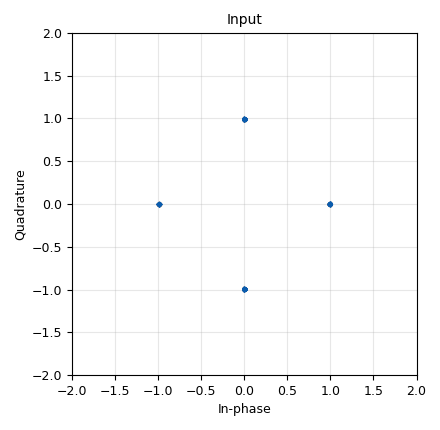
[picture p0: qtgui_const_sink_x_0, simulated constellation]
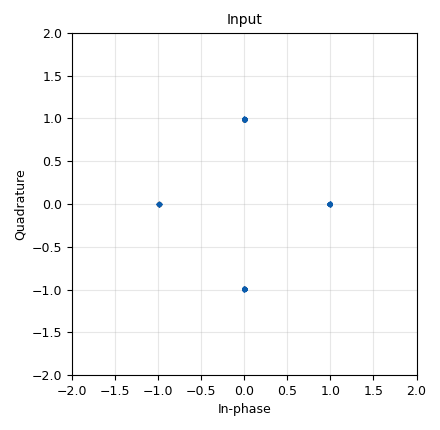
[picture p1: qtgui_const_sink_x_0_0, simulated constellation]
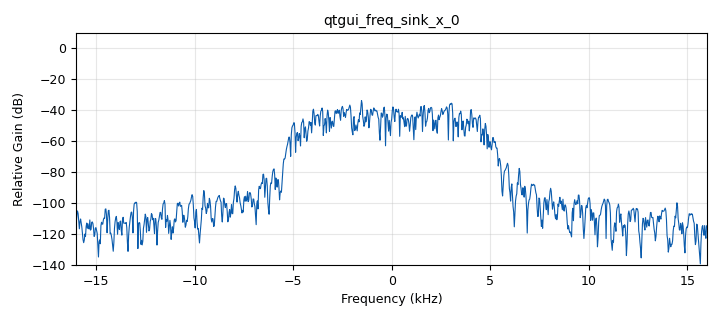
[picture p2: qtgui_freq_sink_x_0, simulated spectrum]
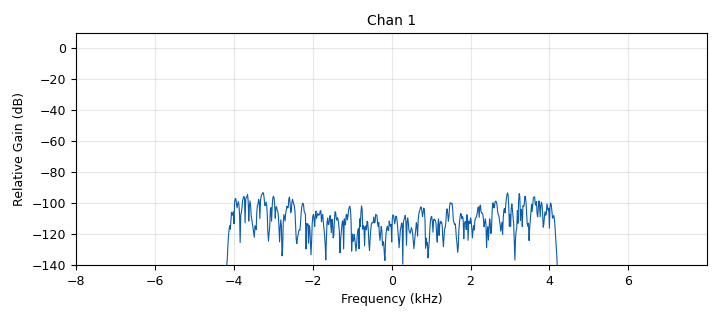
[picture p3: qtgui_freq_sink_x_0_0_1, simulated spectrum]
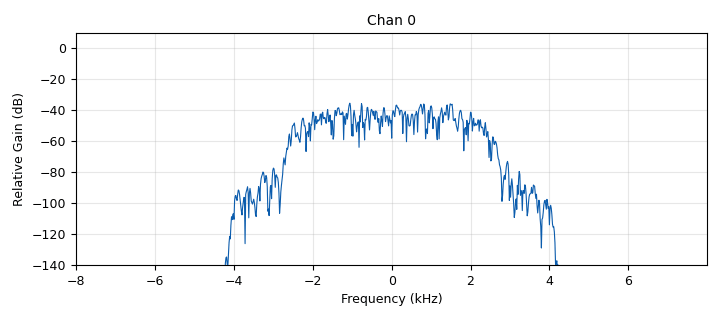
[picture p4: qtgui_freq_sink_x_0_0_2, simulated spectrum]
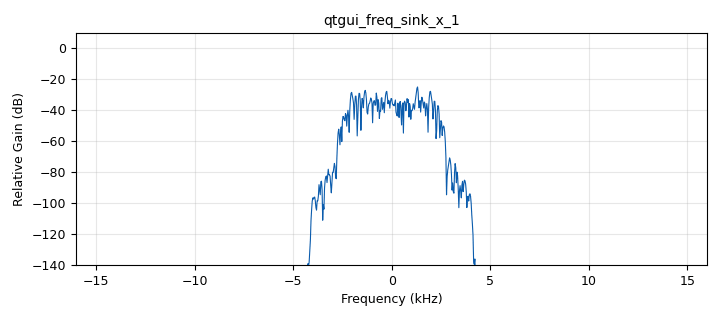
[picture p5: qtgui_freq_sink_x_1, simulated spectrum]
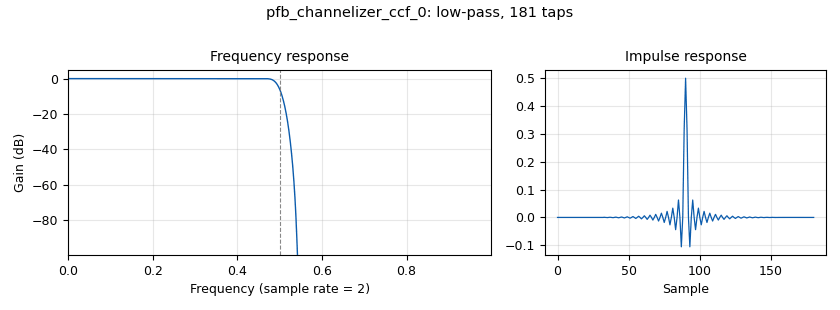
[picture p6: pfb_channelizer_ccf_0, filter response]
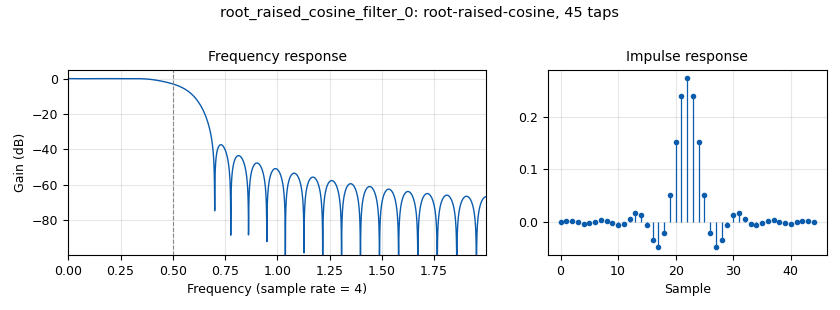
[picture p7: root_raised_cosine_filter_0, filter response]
<?xml version='1.0' encoding='utf-8'?>
<?grc format='1' created='3.7.10'?>
<flow_graph>
<block>
<key>options</key>
<param><key>id</key><value>top_block</value></param>
<param><key>category</key><value>Custom</value></param>
<param><key>generate_options</key><value>qt_gui</value></param>
</block>
<block>
<key>variable</key>
<param><key>id</key><value>chan_taps</value></param>
<param><key>value</key><value>firdes.low_pass_2(1,2,0.5,0.05,100,5)</value></param>
</block>
<block>
<key>variable</key>
<param><key>id</key><value>chan_taps_len</value></param>
<param><key>value</key><value>len(chan_taps)</value></param>
</block>
<block>
<key>variable</key>
<param><key>id</key><value>chanz</value></param>
<param><key>value</key><value>2</value></param>
</block>
<block>
<key>variable_qtgui_range</key>
<param><key>id</key><value>delay_out</value></param>
<param><key>value</key><value>1</value></param>
<param><key>gui_hint</key><value>tabs@3:2,2,1,1</value></param>
<param><key>label</key><value>Delay Output</value></param>
<param><key>orient</key><value>Qt.Horizontal</value></param>
<param><key>start</key><value>0</value></param>
<param><key>step</key><value>1</value></param>
<param><key>stop</key><value>sps-1</value></param>
<param><key>rangeType</key><value>int</value></param>
</block>
<block>
<key>variable_qtgui_range</key>
<param><key>id</key><value>delay_source</value></param>
<param><key>value</key><value>0</value></param>
<param><key>gui_hint</key><value>tabs@3:2,1,1,1</value></param>
<param><key>label</key><value>Delay Source</value></param>
<param><key>orient</key><value>Qt.Horizontal</value></param>
<param><key>start</key><value>0</value></param>
<param><key>step</key><value>1</value></param>
<param><key>stop</key><value>sps-1</value></param>
<param><key>rangeType</key><value>int</value></param>
</block>
<block>
<key>variable</key>
<param><key>id</key><value>len_chunk0</value></param>
<param><key>value</key><value>len(s_chunk0)</value></param>
</block>
<block>
<key>variable</key>
<param><key>id</key><value>len_chunk1</value></param>
<param><key>value</key><value>len(s_chunk1)</value></param>
</block>
<block>
<key>variable</key>
<param><key>id</key><value>len_chunk2</value></param>
<param><key>value</key><value>len(s_chunk2)</value></param>
</block>
<block>
<key>variable</key>
<param><key>id</key><value>len_chunk3</value></param>
<param><key>value</key><value>len(s_chunk3)</value></param>
</block>
<block>
<key>variable</key>
<param><key>id</key><value>len_taps0</value></param>
<param><key>value</key><value>len(s_taps0)</value></param>
</block>
<block>
<key>variable</key>
<param><key>id</key><value>len_taps1</value></param>
<param><key>value</key><value>len(s_taps1)</value></param>
</block>
<block>
<key>variable</key>
<param><key>id</key><value>len_taps2</value></param>
<param><key>value</key><value>len(s_taps2)</value></param>
</block>
<block>
<key>variable</key>
<param><key>id</key><value>len_taps3</value></param>
<param><key>value</key><value>len(s_taps3)</value></param>
</block>
<block>
<key>variable</key>
<param><key>id</key><value>s_chunk0</value></param>
<param><key>value</key><value>synth_taps[0::4]</value></param>
</block>
<block>
<key>variable</key>
<param><key>id</key><value>s_chunk1</value></param>
<param><key>value</key><value>synth_taps[1::4]</value></param>
</block>
<block>
<key>variable</key>
<param><key>id</key><value>s_chunk2</value></param>
<param><key>value</key><value>synth_taps[2::4]</value></param>
</block>
<block>
<key>variable</key>
<param><key>id</key><value>s_chunk3</value></param>
<param><key>value</key><value>synth_taps[3::4]</value></param>
</block>
<block>
<key>variable</key>
<param><key>id</key><value>s_len</value></param>
<param><key>value</key><value>len(synth_taps_base)</value></param>
</block>
<block>
<key>variable</key>
<param><key>id</key><value>s_len_0</value></param>
<param><key>value</key><value>len(synth_taps)</value></param>
</block>
<block>
<key>variable</key>
<param><key>id</key><value>s_taps0</value></param>
<param><key>value</key><value>[val for pair in zip(s_chunk0,[0,]*len_chunk0) for val in pair]</value></param>
</block>
<block>
<key>variable</key>
<param><key>id</key><value>s_taps1</value></param>
<param><key>value</key><value>[val for pair in zip(s_chunk1,[0,]*len_chunk1) for val in pair]</value></param>
</block>
<block>
<key>variable</key>
<param><key>id</key><value>s_taps2</value></param>
<param><key>value</key><value>[val for pair in zip([0,]*len_chunk2,s_chunk2) for val in pair]</value></param>
</block>
<block>
<key>variable</key>
<param><key>id</key><value>s_taps3</value></param>
<param><key>value</key><value>[val for pair in zip([0,]*len_chunk3,s_chunk3) for val in pair]</value></param>
</block>
<block>
<key>variable</key>
<param><key>id</key><value>samp_rate</value></param>
<param><key>value</key><value>32000</value></param>
</block>
<block>
<key>variable</key>
<param><key>id</key><value>sps</value></param>
<param><key>value</key><value>4</value></param>
</block>
<block>
<key>variable</key>
<param><key>id</key><value>synth_taps</value></param>
<param><key>value</key><value>list(synth_taps_base) + [0]</value></param>
</block>
<block>
<key>variable</key>
<param><key>id</key><value>synth_taps_base</value></param>
<param><key>value</key><value>[2.70234291260703e-05,  0.000203615527508586,  0.000421369552158749, -6.76313028287894e-19,  -0.00197292442536121,  -0.00513453047884276,  -0.00623083450437733,  5.26032064271391e-18,    0.0157413995325436,    0.0333887142383542,    0.0343868483372458, -1.69497916402091e-17,   -0.0684562332659489,    -0.134089187345464,    -0.131229144088136,  3.18760447057775e-17,     0.268128354335276,     0.605626148842799,     0.889174253877889,                     1,     0.889174253877889,     0.605626148842799,     0.268128354335276,  3.18760447057775e-17,    -0.131229144088136,    -0.134089187345464,   -0.0684562332659489, -1.69497916402091e-17,    0.0343868483372458,    0.0333887142383542,    0.0157413995325436,  5.26032064271391e-18,  -0.00623083450437733,  -0.00513453047884276,  -0.00197292442536121, -6.76313028287894e-19,  0.000421369552158749,  0.000203615527508586,  2.70234291260703e-05]</value></param>
</block>
<block>
<key>variable</key>
<param><key>id</key><value>synth_taps_base_0</value></param>
<param><key>_enabled</key><value>0</value></param>
<param><key>value</key><value>[-1.91084499859584e-05,   1.1221069680904e-19,   0.00029795326771699, -6.76313028287894e-19,  -0.00139506823994148,  2.20079521061376e-18,   0.00440586533049633, -5.26032064271391e-18,   -0.0111308503548283,  1.02223455049115e-17,    0.0243151736428999, -1.69497916402091e-17,   -0.0484058667568406,  2.46317841124339e-17,    0.0927930176740278, -3.18760447057775e-17,    -0.189595377578863,  3.70839062330136e-17,     0.628741144573544,                     1,     0.628741144573544,  3.70839062330136e-17,    -0.189595377578863, -3.18760447057775e-17,    0.0927930176740278,  2.46317841124339e-17,   -0.0484058667568406, -1.69497916402091e-17,    0.0243151736428999,  1.02223455049115e-17,   -0.0111308503548283, -5.26032064271391e-18,   0.00440586533049633,  2.20079521061376e-18,  -0.00139506823994148, -6.76313028287894e-19,   0.00029795326771699,   1.1221069680904e-19, -1.91084499859584e-05]</value></param>
</block>
<block>
<key>variable</key>
<param><key>id</key><value>synth_taps_base_1</value></param>
<param><key>_enabled</key><value>0</value></param>
<param><key>value</key><value>firdes.low_pass_2(sps,sps,0.5,0.05,100,5)</value></param>
</block>
<block>
<key>variable</key>
<param><key>id</key><value>synthz</value></param>
<param><key>value</key><value>4</value></param>
</block>
<block>
<key>analog_random_source_x</key>
<param><key>id</key><value>analog_random_source_x_0</value></param>
<param><key>max</key><value>4</value></param>
<param><key>min</key><value>0</value></param>
<param><key>num_samps</key><value>10000000</value></param>
<param><key>type</key><value>int</value></param>
<param><key>repeat</key><value>True</value></param>
</block>
<block>
<key>blocks_add_xx</key>
<param><key>id</key><value>blocks_add_xx_0_0_0_0</value></param>
<param><key>type</key><value>complex</value></param>
</block>
<block>
<key>blocks_add_xx</key>
<param><key>id</key><value>blocks_add_xx_0_0_1</value></param>
<param><key>type</key><value>complex</value></param>
</block>
<block>
<key>blocks_delay</key>
<param><key>id</key><value>blocks_delay_0</value></param>
<param><key>delay</key><value>delay_source</value></param>
<param><key>type</key><value>complex</value></param>
</block>
<block>
<key>blocks_delay</key>
<param><key>id</key><value>blocks_delay_0_0</value></param>
<param><key>delay</key><value>delay_out</value></param>
<param><key>type</key><value>complex</value></param>
</block>
<block>
<key>blocks_interleave</key>
<param><key>id</key><value>blocks_interleave_0</value></param>
<param><key>type</key><value>complex</value></param>
<param><key>vlen</key><value>4</value></param>
</block>
<block>
<key>blocks_keep_m_in_n</key>
<param><key>id</key><value>blocks_keep_m_in_n_0</value></param>
<param><key>m</key><value>4</value></param>
<param><key>n</key><value>8</value></param>
<param><key>type</key><value>complex</value></param>
<param><key>offset</key><value>4</value></param>
</block>
<block>
<key>blocks_keep_m_in_n</key>
<param><key>id</key><value>blocks_keep_m_in_n_0_0</value></param>
<param><key>m</key><value>4</value></param>
<param><key>n</key><value>8</value></param>
<param><key>type</key><value>complex</value></param>
<param><key>offset</key><value>0</value></param>
</block>
<block>
<key>blocks_null_source</key>
<param><key>id</key><value>blocks_null_source_0_0</value></param>
<param><key>bus_conns</key><value>[[0,],]</value></param>
<param><key>type</key><value>complex</value></param>
</block>
<block>
<key>blocks_null_source</key>
<param><key>id</key><value>blocks_null_source_0_0_0</value></param>
<param><key>bus_conns</key><value>[[0,],]</value></param>
<param><key>type</key><value>complex</value></param>
</block>
<block>
<key>blocks_null_source</key>
<param><key>id</key><value>blocks_null_source_0_0_0_0</value></param>
<param><key>bus_conns</key><value>[[0,],]</value></param>
<param><key>type</key><value>complex</value></param>
</block>
<block>
<key>blocks_patterned_interleaver</key>
<param><key>id</key><value>blocks_patterned_interleaver_0</value></param>
<param><key>type</key><value>complex</value></param>
<param><key>pattern</key><value>[0,1,2,3]</value></param>
</block>
<block>
<key>blocks_patterned_interleaver</key>
<param><key>id</key><value>blocks_patterned_interleaver_0_0</value></param>
<param><key>type</key><value>complex</value></param>
<param><key>pattern</key><value>[2,3,0,1]</value></param>
</block>
<block>
<key>blocks_stream_to_streams</key>
<param><key>id</key><value>blocks_stream_to_streams_1</value></param>
<param><key>type</key><value>complex</value></param>
<param><key>num_streams</key><value>4</value></param>
</block>
<block>
<key>blocks_stream_to_streams</key>
<param><key>id</key><value>blocks_stream_to_streams_1_0</value></param>
<param><key>type</key><value>complex</value></param>
<param><key>num_streams</key><value>4</value></param>
</block>
<block>
<key>blocks_stream_to_vector</key>
<param><key>id</key><value>blocks_stream_to_vector_0</value></param>
<param><key>type</key><value>complex</value></param>
<param><key>num_items</key><value>4</value></param>
</block>
<block>
<key>blocks_stream_to_vector</key>
<param><key>id</key><value>blocks_stream_to_vector_0_0</value></param>
<param><key>type</key><value>complex</value></param>
<param><key>num_items</key><value>4</value></param>
</block>
<block>
<key>blocks_streams_to_stream</key>
<param><key>id</key><value>blocks_streams_to_stream_1</value></param>
<param><key>type</key><value>complex</value></param>
</block>
<block>
<key>blocks_streams_to_vector</key>
<param><key>id</key><value>blocks_streams_to_vector_0</value></param>
<param><key>type</key><value>complex</value></param>
<param><key>num_streams</key><value>4</value></param>
</block>
<block>
<key>blocks_throttle</key>
<param><key>id</key><value>blocks_throttle_0</value></param>
<param><key>samples_per_second</key><value>samp_rate</value></param>
<param><key>type</key><value>complex</value></param>
</block>
<block>
<key>blocks_vector_to_stream</key>
<param><key>id</key><value>blocks_vector_to_stream_0</value></param>
<param><key>type</key><value>complex</value></param>
<param><key>num_items</key><value>4</value></param>
</block>
<block>
<key>blocks_vector_to_stream</key>
<param><key>id</key><value>blocks_vector_to_stream_0_0</value></param>
<param><key>type</key><value>complex</value></param>
<param><key>num_items</key><value>4</value></param>
</block>
<block>
<key>blocks_vector_to_streams</key>
<param><key>id</key><value>blocks_vector_to_streams_1_0</value></param>
<param><key>type</key><value>complex</value></param>
<param><key>num_streams</key><value>4</value></param>
</block>
<block>
<key>digital_chunks_to_symbols_xx</key>
<param><key>id</key><value>digital_chunks_to_symbols_xx_0</value></param>
<param><key>dimension</key><value>1</value></param>
<param><key>in_type</key><value>int</value></param>
<param><key>out_type</key><value>complex</value></param>
<param><key>symbol_table</key><value>[(1),(1j),(-1j),(-1)]</value></param>
</block>
<block>
<key>fft_vxx</key>
<param><key>id</key><value>fft_vxx_0</value></param>
<param><key>fft_size</key><value>4</value></param>
<param><key>forward</key><value>False</value></param>
<param><key>type</key><value>complex</value></param>
<param><key>shift</key><value>False</value></param>
<param><key>window</key><value>window.rectangular(4)</value></param>
</block>
<block>
<key>fir_filter_xxx</key>
<param><key>id</key><value>fir_filter_xxx_1</value></param>
<param><key>decim</key><value>1</value></param>
<param><key>taps</key><value>s_taps0</value></param>
<param><key>type</key><value>ccf</value></param>
</block>
<block>
<key>fir_filter_xxx</key>
<param><key>id</key><value>fir_filter_xxx_1_0</value></param>
<param><key>decim</key><value>1</value></param>
<param><key>taps</key><value>s_taps1</value></param>
<param><key>type</key><value>ccf</value></param>
</block>
<block>
<key>fir_filter_xxx</key>
<param><key>id</key><value>fir_filter_xxx_1_0_0</value></param>
<param><key>decim</key><value>1</value></param>
<param><key>taps</key><value>s_taps3</value></param>
<param><key>type</key><value>ccf</value></param>
</block>
<block>
<key>fir_filter_xxx</key>
<param><key>id</key><value>fir_filter_xxx_1_1</value></param>
<param><key>decim</key><value>1</value></param>
<param><key>taps</key><value>s_taps2</value></param>
<param><key>type</key><value>ccf</value></param>
</block>
<block>
<key>import</key>
<param><key>id</key><value>import_0</value></param>
<param><key>import</key><value>import itertools</value></param>
</block>
<block>
<key>pfb_channelizer_ccf</key>
<param><key>id</key><value>pfb_channelizer_ccf_0</value></param>
<param><key>atten</key><value>100</value></param>
<param><key>bus_conns</key><value>[[0,],]</value></param>
<param><key>ch_map</key><value>[]</value></param>
<param><key>nchans</key><value>2</value></param>
<param><key>osr</key><value>2.0</value></param>
<param><key>taps</key><value>chan_taps</value></param>
</block>
<block>
<key>qtgui_const_sink_x</key>
<param><key>id</key><value>qtgui_const_sink_x_0</value></param>
<param><key>gui_hint</key><value>tabs@3:1,1,1,1</value></param>
<param><key>name</key><value>"Input"</value></param>
<param><key>size</key><value>1024</value></param>
<param><key>type</key><value>complex</value></param>
</block>
<block>
<key>qtgui_const_sink_x</key>
<param><key>id</key><value>qtgui_const_sink_x_0_0</value></param>
<param><key>gui_hint</key><value>tabs@3:1,2,1,1</value></param>
<param><key>name</key><value>"Input"</value></param>
<param><key>size</key><value>1024</value></param>
<param><key>type</key><value>complex</value></param>
</block>
<block>
<key>qtgui_freq_sink_x</key>
<param><key>id</key><value>qtgui_freq_sink_x_0</value></param>
<param><key>bw</key><value>samp_rate</value></param>
<param><key>fc</key><value>0</value></param>
<param><key>fftsize</key><value>1024</value></param>
<param><key>gui_hint</key><value>tabs@0:1,1,1,1</value></param>
<param><key>showports</key><value>True</value></param>
<param><key>type</key><value>complex</value></param>
<param><key>wintype</key><value>firdes.WIN_BLACKMAN_hARRIS</value></param>
</block>
<block>
<key>qtgui_freq_sink_x</key>
<param><key>id</key><value>qtgui_freq_sink_x_0_0</value></param>
<param><key>bw</key><value>samp_rate/chanz</value></param>
<param><key>fc</key><value>0</value></param>
<param><key>_enabled</key><value>0</value></param>
<param><key>fftsize</key><value>1024</value></param>
<param><key>gui_hint</key><value>tabs@1:2,2,1,1</value></param>
<param><key>name</key><value>"Chan 3"</value></param>
<param><key>showports</key><value>True</value></param>
<param><key>type</key><value>complex</value></param>
<param><key>wintype</key><value>firdes.WIN_BLACKMAN_hARRIS</value></param>
</block>
<block>
<key>qtgui_freq_sink_x</key>
<param><key>id</key><value>qtgui_freq_sink_x_0_0_0</value></param>
<param><key>bw</key><value>samp_rate/chanz</value></param>
<param><key>fc</key><value>0</value></param>
<param><key>_enabled</key><value>0</value></param>
<param><key>fftsize</key><value>1024</value></param>
<param><key>gui_hint</key><value>tabs@1:2,1,1,1</value></param>
<param><key>name</key><value>"Chan 2"</value></param>
<param><key>showports</key><value>True</value></param>
<param><key>type</key><value>complex</value></param>
<param><key>wintype</key><value>firdes.WIN_BLACKMAN_hARRIS</value></param>
</block>
<block>
<key>qtgui_freq_sink_x</key>
<param><key>id</key><value>qtgui_freq_sink_x_0_0_1</value></param>
<param><key>bw</key><value>samp_rate/chanz</value></param>
<param><key>fc</key><value>0</value></param>
<param><key>fftsize</key><value>1024</value></param>
<param><key>gui_hint</key><value>tabs@1:1,2,1,1</value></param>
<param><key>name</key><value>"Chan 1"</value></param>
<param><key>showports</key><value>True</value></param>
<param><key>type</key><value>complex</value></param>
<param><key>wintype</key><value>firdes.WIN_BLACKMAN_hARRIS</value></param>
</block>
<block>
<key>qtgui_freq_sink_x</key>
<param><key>id</key><value>qtgui_freq_sink_x_0_0_2</value></param>
<param><key>bw</key><value>samp_rate/chanz</value></param>
<param><key>fc</key><value>0</value></param>
<param><key>fftsize</key><value>1024</value></param>
<param><key>gui_hint</key><value>tabs@1:1,1,1,1</value></param>
<param><key>name</key><value>"Chan 0"</value></param>
<param><key>showports</key><value>True</value></param>
<param><key>type</key><value>complex</value></param>
<param><key>wintype</key><value>firdes.WIN_BLACKMAN_hARRIS</value></param>
</block>
<block>
<key>qtgui_freq_sink_x</key>
<param><key>id</key><value>qtgui_freq_sink_x_1</value></param>
<param><key>bw</key><value>samp_rate</value></param>
<param><key>fc</key><value>0</value></param>
<param><key>fftsize</key><value>1024</value></param>
<param><key>gui_hint</key><value>tabs@2:1,1,1,1</value></param>
<param><key>showports</key><value>True</value></param>
<param><key>type</key><value>complex</value></param>
<param><key>wintype</key><value>firdes.WIN_BLACKMAN_hARRIS</value></param>
</block>
<block>
<key>qtgui_waterfall_sink_x</key>
<param><key>id</key><value>qtgui_waterfall_sink_x_0</value></param>
<param><key>bw</key><value>samp_rate</value></param>
<param><key>fc</key><value>0</value></param>
<param><key>fftsize</key><value>1024</value></param>
<param><key>gui_hint</key><value>tabs@0 : 2,1,1,1</value></param>
<param><key>showports</key><value>True</value></param>
<param><key>type</key><value>complex</value></param>
<param><key>wintype</key><value>firdes.WIN_BLACKMAN_hARRIS</value></param>
</block>
<block>
<key>qtgui_waterfall_sink_x</key>
<param><key>id</key><value>qtgui_waterfall_sink_x_0_0</value></param>
<param><key>bw</key><value>samp_rate</value></param>
<param><key>fc</key><value>0</value></param>
<param><key>fftsize</key><value>1024</value></param>
<param><key>gui_hint</key><value>tabs@2 : 2,1,1,1</value></param>
<param><key>showports</key><value>True</value></param>
<param><key>type</key><value>complex</value></param>
<param><key>wintype</key><value>firdes.WIN_BLACKMAN_hARRIS</value></param>
</block>
<block>
<key>root_raised_cosine_filter</key>
<param><key>id</key><value>root_raised_cosine_filter_0</value></param>
<param><key>alpha</key><value>0.35</value></param>
<param><key>type</key><value>interp_fir_filter_ccf</value></param>
<param><key>gain</key><value>1</value></param>
<param><key>interp</key><value>sps</value></param>
<param><key>ntaps</key><value>11*(sps)</value></param>
<param><key>samp_rate</key><value>sps</value></param>
<param><key>sym_rate</key><value>1.0</value></param>
</block>
<block>
<key>root_raised_cosine_filter</key>
<param><key>id</key><value>root_raised_cosine_filter_0_0</value></param>
<param><key>alpha</key><value>0.35</value></param>
<param><key>decim</key><value>sps</value></param>
<param><key>type</key><value>fir_filter_ccf</value></param>
<param><key>gain</key><value>sps</value></param>
<param><key>interp</key><value>sps</value></param>
<param><key>ntaps</key><value>11*(sps)</value></param>
<param><key>samp_rate</key><value>sps</value></param>
<param><key>sym_rate</key><value>1.0</value></param>
</block>
<block>
<key>root_raised_cosine_filter</key>
<param><key>id</key><value>root_raised_cosine_filter_0_0_0</value></param>
<param><key>alpha</key><value>0.35</value></param>
<param><key>decim</key><value>sps*(4/2)</value></param>
<param><key>type</key><value>fir_filter_ccf</value></param>
<param><key>gain</key><value>2</value></param>
<param><key>interp</key><value>sps</value></param>
<param><key>ntaps</key><value>11*(sps*(4/2))</value></param>
<param><key>samp_rate</key><value>sps*(4/2)</value></param>
<param><key>sym_rate</key><value>1.0</value></param>
</block>
<block>
<key>synthesis_synth_pfb</key>
<param><key>id</key><value>synthesis_synth_pfb_0</value></param>
<param><key>twox</key><value>1</value></param>
<param><key>bus_conns</key><value>[range(4),]</value></param>
<param><key>nchans</key><value>4</value></param>
<param><key>_enabled</key><value>0</value></param>
<param><key>samp_delay</key><value>0</value></param>
<param><key>taps</key><value>synth_taps_base</value></param>
</block>
<block>
<key>synthesis_synth_selector</key>
<param><key>id</key><value>synthesis_synth_selector_0</value></param>
<param><key>bus_conns</key><value>[[0],]</value></param>
<param><key>map</key><value>[0]</value></param>
<param><key>nchans</key><value>4</value></param>
<param><key>connections</key><value>1</value></param>
<param><key>_enabled</key><value>0</value></param>
<param><key>osr</key><value>2.0</value></param>
</block>
<block>
<key>synthesis_synthesizer_pfb_ccf</key>
<param><key>id</key><value>synthesis_synthesizer_pfb_ccf_0</value></param>
<param><key>twox</key><value>True</value></param>
<param><key>bus_conns</key><value>[[0],]</value></param>
<param><key>ch_map</key><value>[0]</value></param>
<param><key>nfilts</key><value>4</value></param>
<param><key>connections</key><value>1</value></param>
<param><key>_enabled</key><value>0</value></param>
<param><key>samp_delay</key><value>0</value></param>
<param><key>taps</key><value>synth_taps_base</value></param>
</block>
<block>
<key>qtgui_tab_widget</key>
<param><key>id</key><value>tabs</value></param>
<param><key>label0</key><value>Input</value></param>
<param><key>label1</key><value>Channelizer</value></param>
<param><key>label2</key><value>Output</value></param>
<param><key>label3</key><value>Constellation</value></param>
<param><key>num_tabs</key><value>4</value></param>
</block>
<connection><source_block_id>analog_random_source_x_0</source_block_id><sink_block_id>digital_chunks_to_symbols_xx_0</sink_block_id><source_key>0</source_key><sink_key>0</sink_key></connection>
<connection><source_block_id>blocks_add_xx_0_0_0_0</source_block_id><sink_block_id>blocks_streams_to_stream_1</sink_block_id><source_key>0</source_key><sink_key>0</sink_key></connection>
<connection><source_block_id>blocks_add_xx_0_0_1</source_block_id><sink_block_id>blocks_streams_to_stream_1</sink_block_id><source_key>0</source_key><sink_key>1</sink_key></connection>
<connection><source_block_id>blocks_delay_0</source_block_id><sink_block_id>root_raised_cosine_filter_0_0</sink_block_id><source_key>0</source_key><sink_key>0</sink_key></connection>
<connection><source_block_id>blocks_delay_0_0</source_block_id><sink_block_id>root_raised_cosine_filter_0_0_0</sink_block_id><source_key>0</source_key><sink_key>0</sink_key></connection>
<connection><source_block_id>blocks_interleave_0</source_block_id><sink_block_id>blocks_vector_to_streams_1_0</sink_block_id><source_key>0</source_key><sink_key>0</sink_key></connection>
<connection><source_block_id>blocks_keep_m_in_n_0</source_block_id><sink_block_id>blocks_stream_to_streams_1</sink_block_id><source_key>0</source_key><sink_key>0</sink_key></connection>
<connection><source_block_id>blocks_keep_m_in_n_0_0</source_block_id><sink_block_id>blocks_stream_to_streams_1_0</sink_block_id><source_key>0</source_key><sink_key>0</sink_key></connection>
<connection><source_block_id>blocks_null_source_0_0</source_block_id><sink_block_id>blocks_streams_to_vector_0</sink_block_id><source_key>0</source_key><sink_key>2</sink_key></connection>
<connection><source_block_id>blocks_null_source_0_0_0</source_block_id><sink_block_id>blocks_streams_to_vector_0</sink_block_id><source_key>0</source_key><sink_key>3</sink_key></connection>
<connection><source_block_id>blocks_null_source_0_0_0_0</source_block_id><sink_block_id>blocks_streams_to_vector_0</sink_block_id><source_key>0</source_key><sink_key>1</sink_key></connection>
<connection><source_block_id>blocks_patterned_interleaver_0</source_block_id><sink_block_id>blocks_stream_to_vector_0</sink_block_id><source_key>0</source_key><sink_key>0</sink_key></connection>
<connection><source_block_id>blocks_patterned_interleaver_0_0</source_block_id><sink_block_id>blocks_stream_to_vector_0_0</sink_block_id><source_key>0</source_key><sink_key>0</sink_key></connection>
<connection><source_block_id>blocks_stream_to_streams_1</source_block_id><sink_block_id>blocks_patterned_interleaver_0_0</sink_block_id><source_key>0</source_key><sink_key>0</sink_key></connection>
<connection><source_block_id>blocks_stream_to_streams_1</source_block_id><sink_block_id>blocks_patterned_interleaver_0_0</sink_block_id><source_key>1</source_key><sink_key>1</sink_key></connection>
<connection><source_block_id>blocks_stream_to_streams_1</source_block_id><sink_block_id>blocks_patterned_interleaver_0_0</sink_block_id><source_key>2</source_key><sink_key>2</sink_key></connection>
<connection><source_block_id>blocks_stream_to_streams_1</source_block_id><sink_block_id>blocks_patterned_interleaver_0_0</sink_block_id><source_key>3</source_key><sink_key>3</sink_key></connection>
<connection><source_block_id>blocks_stream_to_streams_1_0</source_block_id><sink_block_id>blocks_patterned_interleaver_0</sink_block_id><source_key>0</source_key><sink_key>0</sink_key></connection>
<connection><source_block_id>blocks_stream_to_streams_1_0</source_block_id><sink_block_id>blocks_patterned_interleaver_0</sink_block_id><source_key>1</source_key><sink_key>1</sink_key></connection>
<connection><source_block_id>blocks_stream_to_streams_1_0</source_block_id><sink_block_id>blocks_patterned_interleaver_0</sink_block_id><source_key>2</source_key><sink_key>2</sink_key></connection>
<connection><source_block_id>blocks_stream_to_streams_1_0</source_block_id><sink_block_id>blocks_patterned_interleaver_0</sink_block_id><source_key>3</source_key><sink_key>3</sink_key></connection>
<connection><source_block_id>blocks_stream_to_vector_0</source_block_id><sink_block_id>blocks_interleave_0</sink_block_id><source_key>0</source_key><sink_key>0</sink_key></connection>
<connection><source_block_id>blocks_stream_to_vector_0_0</source_block_id><sink_block_id>blocks_interleave_0</sink_block_id><source_key>0</source_key><sink_key>1</sink_key></connection>
<connection><source_block_id>blocks_streams_to_stream_1</source_block_id><sink_block_id>blocks_delay_0_0</sink_block_id><source_key>0</source_key><sink_key>0</sink_key></connection>
<connection><source_block_id>blocks_streams_to_stream_1</source_block_id><sink_block_id>qtgui_freq_sink_x_1</sink_block_id><source_key>0</source_key><sink_key>0</sink_key></connection>
<connection><source_block_id>blocks_streams_to_stream_1</source_block_id><sink_block_id>qtgui_waterfall_sink_x_0_0</sink_block_id><source_key>0</source_key><sink_key>0</sink_key></connection>
<connection><source_block_id>blocks_streams_to_vector_0</source_block_id><sink_block_id>fft_vxx_0</sink_block_id><source_key>0</source_key><sink_key>0</sink_key></connection>
<connection><source_block_id>blocks_throttle_0</source_block_id><sink_block_id>blocks_delay_0</sink_block_id><source_key>0</source_key><sink_key>0</sink_key></connection>
<connection><source_block_id>blocks_throttle_0</source_block_id><sink_block_id>pfb_channelizer_ccf_0</sink_block_id><source_key>0</source_key><sink_key>0</sink_key></connection>
<connection><source_block_id>blocks_throttle_0</source_block_id><sink_block_id>qtgui_freq_sink_x_0</sink_block_id><source_key>0</source_key><sink_key>0</sink_key></connection>
<connection><source_block_id>blocks_throttle_0</source_block_id><sink_block_id>qtgui_waterfall_sink_x_0</sink_block_id><source_key>0</source_key><sink_key>0</sink_key></connection>
<connection><source_block_id>blocks_vector_to_stream_0</source_block_id><sink_block_id>blocks_keep_m_in_n_0</sink_block_id><source_key>0</source_key><sink_key>0</sink_key></connection>
<connection><source_block_id>blocks_vector_to_stream_0_0</source_block_id><sink_block_id>blocks_keep_m_in_n_0_0</sink_block_id><source_key>0</source_key><sink_key>0</sink_key></connection>
<connection><source_block_id>blocks_vector_to_streams_1_0</source_block_id><sink_block_id>fir_filter_xxx_1</sink_block_id><source_key>0</source_key><sink_key>0</sink_key></connection>
<connection><source_block_id>blocks_vector_to_streams_1_0</source_block_id><sink_block_id>synthesis_synth_pfb_0</sink_block_id><source_key>0</source_key><sink_key>0</sink_key></connection>
<connection><source_block_id>blocks_vector_to_streams_1_0</source_block_id><sink_block_id>fir_filter_xxx_1_0</sink_block_id><source_key>1</source_key><sink_key>0</sink_key></connection>
<connection><source_block_id>blocks_vector_to_streams_1_0</source_block_id><sink_block_id>synthesis_synth_pfb_0</sink_block_id><source_key>1</source_key><sink_key>1</sink_key></connection>
<connection><source_block_id>blocks_vector_to_streams_1_0</source_block_id><sink_block_id>fir_filter_xxx_1_1</sink_block_id><source_key>2</source_key><sink_key>0</sink_key></connection>
<connection><source_block_id>blocks_vector_to_streams_1_0</source_block_id><sink_block_id>synthesis_synth_pfb_0</sink_block_id><source_key>2</source_key><sink_key>2</sink_key></connection>
<connection><source_block_id>blocks_vector_to_streams_1_0</source_block_id><sink_block_id>fir_filter_xxx_1_0_0</sink_block_id><source_key>3</source_key><sink_key>0</sink_key></connection>
<connection><source_block_id>blocks_vector_to_streams_1_0</source_block_id><sink_block_id>synthesis_synth_pfb_0</sink_block_id><source_key>3</source_key><sink_key>3</sink_key></connection>
<connection><source_block_id>digital_chunks_to_symbols_xx_0</source_block_id><sink_block_id>root_raised_cosine_filter_0</sink_block_id><source_key>0</source_key><sink_key>0</sink_key></connection>
<connection><source_block_id>fft_vxx_0</source_block_id><sink_block_id>blocks_vector_to_stream_0</sink_block_id><source_key>0</source_key><sink_key>0</sink_key></connection>
<connection><source_block_id>fft_vxx_0</source_block_id><sink_block_id>blocks_vector_to_stream_0_0</sink_block_id><source_key>0</source_key><sink_key>0</sink_key></connection>
<connection><source_block_id>fir_filter_xxx_1</source_block_id><sink_block_id>blocks_add_xx_0_0_0_0</sink_block_id><source_key>0</source_key><sink_key>0</sink_key></connection>
<connection><source_block_id>fir_filter_xxx_1_0</source_block_id><sink_block_id>blocks_add_xx_0_0_1</sink_block_id><source_key>0</source_key><sink_key>0</sink_key></connection>
<connection><source_block_id>fir_filter_xxx_1_0_0</source_block_id><sink_block_id>blocks_add_xx_0_0_1</sink_block_id><source_key>0</source_key><sink_key>1</sink_key></connection>
<connection><source_block_id>fir_filter_xxx_1_1</source_block_id><sink_block_id>blocks_add_xx_0_0_0_0</sink_block_id><source_key>0</source_key><sink_key>1</sink_key></connection>
<connection><source_block_id>pfb_channelizer_ccf_0</source_block_id><sink_block_id>blocks_streams_to_vector_0</sink_block_id><source_key>0</source_key><sink_key>0</sink_key></connection>
<connection><source_block_id>pfb_channelizer_ccf_0</source_block_id><sink_block_id>qtgui_freq_sink_x_0_0_2</sink_block_id><source_key>0</source_key><sink_key>0</sink_key></connection>
<connection><source_block_id>pfb_channelizer_ccf_0</source_block_id><sink_block_id>synthesis_synth_selector_0</sink_block_id><source_key>0</source_key><sink_key>0</sink_key></connection>
<connection><source_block_id>pfb_channelizer_ccf_0</source_block_id><sink_block_id>synthesis_synthesizer_pfb_ccf_0</sink_block_id><source_key>0</source_key><sink_key>0</sink_key></connection>
<connection><source_block_id>pfb_channelizer_ccf_0</source_block_id><sink_block_id>qtgui_freq_sink_x_0_0_1</sink_block_id><source_key>1</source_key><sink_key>0</sink_key></connection>
<connection><source_block_id>root_raised_cosine_filter_0</source_block_id><sink_block_id>blocks_throttle_0</sink_block_id><source_key>0</source_key><sink_key>0</sink_key></connection>
<connection><source_block_id>root_raised_cosine_filter_0_0</source_block_id><sink_block_id>qtgui_const_sink_x_0</sink_block_id><source_key>0</source_key><sink_key>0</sink_key></connection>
<connection><source_block_id>root_raised_cosine_filter_0_0_0</source_block_id><sink_block_id>qtgui_const_sink_x_0_0</sink_block_id><source_key>0</source_key><sink_key>0</sink_key></connection>
<connection><source_block_id>synthesis_synth_pfb_0</source_block_id><sink_block_id>blocks_delay_0_0</sink_block_id><source_key>0</source_key><sink_key>0</sink_key></connection>
<connection><source_block_id>synthesis_synth_pfb_0</source_block_id><sink_block_id>qtgui_freq_sink_x_1</sink_block_id><source_key>0</source_key><sink_key>0</sink_key></connection>
<connection><source_block_id>synthesis_synth_pfb_0</source_block_id><sink_block_id>qtgui_waterfall_sink_x_0_0</sink_block_id><source_key>0</source_key><sink_key>0</sink_key></connection>
<connection><source_block_id>synthesis_synth_selector_0</source_block_id><sink_block_id>blocks_vector_to_streams_1_0</sink_block_id><source_key>0</source_key><sink_key>0</sink_key></connection>
<connection><source_block_id>synthesis_synthesizer_pfb_ccf_0</source_block_id><sink_block_id>blocks_delay_0_0</sink_block_id><source_key>0</source_key><sink_key>0</sink_key></connection>
<connection><source_block_id>synthesis_synthesizer_pfb_ccf_0</source_block_id><sink_block_id>qtgui_freq_sink_x_1</sink_block_id><source_key>0</source_key><sink_key>0</sink_key></connection>
<connection><source_block_id>synthesis_synthesizer_pfb_ccf_0</source_block_id><sink_block_id>qtgui_waterfall_sink_x_0_0</sink_block_id><source_key>0</source_key><sink_key>0</sink_key></connection>
</flow_graph>
